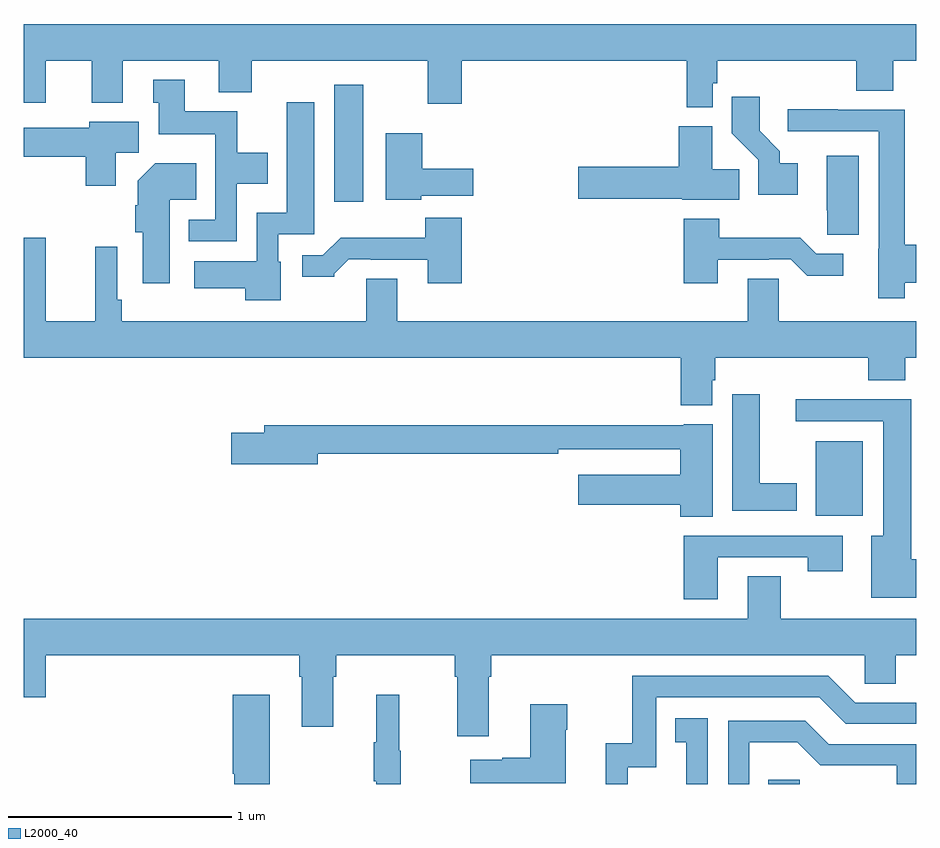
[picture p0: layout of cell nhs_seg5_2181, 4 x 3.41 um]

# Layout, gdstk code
import gdstk
lib = gdstk.Library(unit=1e-6, precision=1e-09)
def R(c, l, rs):  # rectangles x0, y0, x1, y1
    for r in rs: c.add(gdstk.rectangle(r[:2], r[2:], *l))
def P(c, l, *ps):  # polygons
    for p in ps: c.add(gdstk.Polygon(p, *l))
L2000_40 = (2000, 40)

nhs_seg5_2181 = lib.new_cell('nhs_seg5_2181')
R(nhs_seg5_2181, L2000_40, [(240.337,906.799,240.477,906.819), (240.548,908,240.76,908.335), (238.391,909.408,238.522,909.931)])
P(nhs_seg5_2181, L2000_40, [(240.087,909.939),(240.107,909.939),(240.107,910.04),(240.731,910.04),(240.731,909.904),(240.896,909.904),(240.896,910.04),(241,910.04),(241,910.204),(237,910.204),(237,909.852),(237.1,909.852),(237.1,910.04),(237.305,910.04),(237.305,909.851),(237.445,909.851),(237.445,910.04),(237.875,910.04),(237.875,909.899),(238.023,909.899),(238.023,910.04),(238.811,910.04),(238.811,909.846),(238.964,909.846),(238.964,910.04),(239.971,910.04),(239.971,909.83),(240.087,909.83)],
  [(237.954,909.488),(238.093,909.488),(238.093,909.628),(237.957,909.628),(237.957,909.814),(237.721,909.814),(237.721,909.955),(237.581,909.955),(237.581,909.852),(237.605,909.852),(237.605,909.71),(237.858,909.71),(237.858,909.327),(237.741,909.327),(237.741,909.231),(237.954,909.231)],
  [(240.469,909.58),(240.388,909.58),(240.388,909.635),(240.298,909.725),(240.298,909.877),(240.172,909.877),(240.172,909.714),(240.291,909.595),(240.291,909.44),(240.469,909.44)],
  [(238.153,909.138),(238.14,909.138),(238.14,909.261),(238.303,909.261),(238.303,909.853),(238.178,909.853),(238.178,909.358),(238.044,909.358),(238.044,909.142),(237.765,909.142),(237.765,909.02),(237.992,909.02),(237.992,908.966),(238.153,908.966)],
  [(240.947,909.044),(241,909.044),(241,909.215),(240.947,909.215),(240.947,909.819),(240.647,909.819),(240.647,909.822),(240.423,909.822),(240.423,909.723),(240.831,909.723),(240.831,909.198),(240.83,909.198),(240.83,908.976),(240.947,908.976)],
  [(237.412,909.628),(237.517,909.628),(237.517,909.766),(237.294,909.766),(237.294,909.739),(237,909.739),(237,909.61),(237.278,909.61),(237.278,909.48),(237.412,909.48)],
  [(240.206,909.554),(240.085,909.554),(240.085,909.745),(239.936,909.745),(239.936,909.564),(239.484,909.564),(239.484,909.422),(239.952,909.422),(239.952,909.416),(240.206,909.416)],
  [(238.782,909.434),(239.014,909.434),(239.014,909.556),(238.786,909.556),(238.786,909.715),(238.622,909.715),(238.622,909.416),(238.782,909.416)],
  [(240.742,909.613),(240.599,909.613),(240.599,909.37),(240.6,909.37),(240.6,909.259),(240.742,909.259)],
  [(237.655,909.416),(237.773,909.416),(237.773,909.58),(237.59,909.58),(237.512,909.502),(237.512,909.392),(237.5,909.392),(237.5,909.27),(237.533,909.27),(237.533,909.042),(237.655,909.042)],
  [(238.964,909.337),(238.799,909.337),(238.799,909.247),(238.42,909.247),(238.341,909.168),(238.248,909.168),(238.248,909.071),(238.392,909.071),(238.392,909.086),(238.456,909.15),(238.555,909.15),(238.555,909.147),(238.811,909.147),(238.811,909.042),(238.964,909.042)],
  [(240.109,909.147),(240.338,909.147),(240.338,909.15),(240.438,909.15),(240.511,909.077),(240.673,909.077),(240.673,909.174),(240.552,909.174),(240.479,909.247),(240.117,909.247),(240.117,909.331),(239.957,909.331),(239.957,909.042),(240.109,909.042)],
  [(240.085,908.607),(240.098,908.607),(240.098,908.708),(240.785,908.708),(240.785,908.609),(240.95,908.609),(240.95,908.708),(241,908.708),(241,908.872),(240.384,908.872),(240.384,909.062),(240.245,909.062),(240.245,908.872),(238.675,908.872),(238.675,909.062),(238.535,909.062),(238.535,908.872),(237.44,908.872),(237.44,908.968),(237.42,908.968),(237.42,909.205),(237.322,909.205),(237.322,908.872),(237.1,908.872),(237.1,909.247),(237,909.247),(237,908.708),(239.945,908.708),(239.945,908.495),(240.085,908.495)],
  [(240.463,908.146),(240.298,908.146),(240.298,908.545),(240.176,908.545),(240.176,908.024),(240.463,908.024)],
  [(241,907.805),(240.977,907.805),(240.977,908.522),(240.459,908.522),(240.459,908.424),(240.851,908.424),(240.851,907.912),(240.797,907.912),(240.797,907.634),(241,907.634)],
  [(240.088,908.41),(239.958,908.41),(239.958,908.407),(238.079,908.407),(238.079,908.373),(237.93,908.373),(237.93,908.231),(238.318,908.231),(238.318,908.278),(239.396,908.278),(239.396,908.298),(239.942,908.298),(239.942,908.185),(239.484,908.185),(239.484,908.051),(239.942,908.051),(239.942,907.996),(240.088,907.996)],
  [(240.109,907.815),(240.514,907.815),(240.514,907.752),(240.67,907.752),(240.67,907.911),(239.957,907.911),(239.957,907.626),(240.109,907.626)],
  [(239.083,907.28),(239.096,907.28),(239.096,907.376),(240.768,907.376),(240.768,907.249),(240.907,907.249),(240.907,907.376),(241,907.376),(241,907.54),(240.393,907.54),(240.393,907.73),(240.245,907.73),(240.245,907.54),(237,907.54),(237,907.188),(237.1,907.188),(237.1,907.376),(238.235,907.376),(238.235,907.28),(238.247,907.28),(238.247,907.056),(238.387,907.056),(238.387,907.28),(238.4,907.28),(238.4,907.376),(238.931,907.376),(238.931,907.28),(238.943,907.28),(238.943,907.014),(239.083,907.014)],
  [(239.706,906.873),(239.835,906.873),(239.835,907.188),(240.564,907.188),(240.684,907.068),(241,907.068),(241,907.164),(240.726,907.164),(240.606,907.284),(239.727,907.284),(239.727,906.982),(239.609,906.982),(239.609,906.799),(239.706,906.799)],
  [(238.102,907.198),(237.938,907.198),(237.938,906.846),(237.944,906.846),(237.944,906.799),(238.102,906.799)],
  [(238.69,906.948),(238.682,906.948),(238.682,907.198),(238.58,907.198),(238.58,906.985),(238.569,906.985),(238.569,906.811),(238.58,906.811),(238.58,906.799),(238.69,906.799)],
  [(239.428,907.043),(239.436,907.043),(239.436,907.156),(239.27,907.156),(239.27,906.917),(239.144,906.917),(239.144,906.907),(239.001,906.907),(239.001,906.803),(239.428,906.803)],
  [(240.066,907.093),(239.92,907.093),(239.92,906.987),(239.969,906.987),(239.969,906.799),(240.066,906.799)],
  [(240.252,906.986),(240.466,906.986),(240.57,906.882),(240.912,906.882),(240.912,906.799),(241,906.799),(241,906.978),(240.607,906.978),(240.502,907.083),(240.156,907.083),(240.156,906.799),(240.252,906.799)])

lib.write_gds('nhs_seg5_2181.gds')
